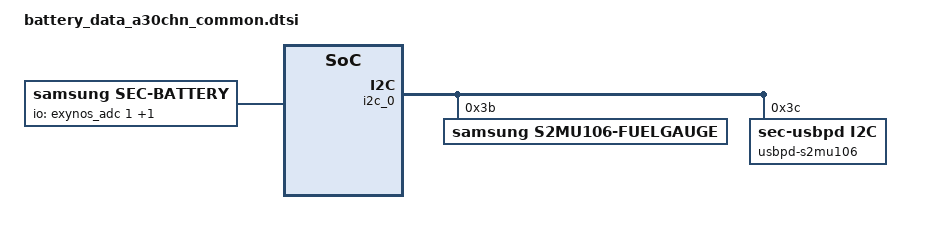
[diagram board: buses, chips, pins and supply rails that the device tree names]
/*
 * M30 device tree file
 *
 * Copyright (C) 2018 Samsung Electronics, Inc.
 *
 * This program is free software; you can redistribute it and/or
 * modify it under the terms of the GNU General Public License
 * as published by the Free Software Foundation; either version 2
 * of the License, or (at your option) any later version.
 *
 * This program is distributed in the hope that it will be useful,
 * but WITHOUT ANY WARRANTY; without even the implied warranty of
 * MERCHANTABILITY or FITNESS FOR A PARTICULAR PURPOSE.  See the
 * GNU General Public License for more details.
 *
 * You should have received a copy of the GNU General Public License
 * along with this program. If not, see <http://www.gnu.org/licenses/>.
 *
 */

/ {
	fragment@battery {
		target-path = "/";
		__overlay__ {
			battery_params {
				battery,battery_data =
					<
					/***** battery data for 4.35 *****/
					/* battery,battery_table3 */
					200 10 71 10 198 9 86 9 234 8
					152 8 3 8 196 7 133 7 55 7
					210 6 157 6 118 6 88 6 65 6
					44 6 6 6 221 5 154 5 130 5
					53 4 162 1 107 8 0 8 149 7
					43 7 192 6 85 6 234 5 128 5
					21 5 170 4 63 4 213 3 106 3
					255 2 148 2 42 2 191 1 84 1
					234 0 127 0 20 0 229 15

					/* battery,battery_table4 */
					10 10 10 10 47 47 47 48 47 47
					47 47 47 47 48 48 49 50 51 53
					58 95

					/* battery,batcap */
					0x64 0x4B 0xD9 0x12 /* [0x0E] [0x0F] [0x10] [0x11] */
					/* battery,accum */ 
					0x00 0x08 /* [0x44] [0x45] */

					/* battery,soc_arr_val */
					10521 10000 9478 8957 8436 7915 7394 6873 6352 5830
					5309 4788 4267 3746 3225 2704 2182 1661 1140 619
					98 (-133)

					/* battery,ocv_arr_val */
					43477 42847 42217 41668 41142 40740 40016 39705 39397 39020
					38523 38265 38076 37932 37819 37714 37527 37329 37003 36883
					35260 32039

					/* battery,tunning */
					0x00

					/***** battery data for 4.33 *****/
					/* battery,battery_table3 */
					76 11 200 10 68 10 193 9 79 9
					227 8 135 8 251 7 186 7 119 7
					35 7 198 6 147 6 110 6 82 6
					59 6 31 6 247 5 196 5 144 5
					245 4 162 1 240 8 130 8 20 8
					165 7 55 7 201 6 90 6 236 5
					126 5 16 5 161 4 51 4 197 3
					87 3 232 2 122 2 12 2 157 1
					47 1 193 0 83 0 228 15

					/* battery,battery_table4 */
					47 47 47 47 47 47 47 48 47 47
					47 47 47 47 48 48 49 50 51 53
					58 95

					/* battery,batcap */
					0xC8 0x4B 0xF2 0x12 /* [0x0E] [0x0F] [0x10] [0x11] */
					/* battery,accum */
					0x00 0x8 /* [0x44] [0x45] */

					/* battery,soc_arr_val */
					11172 10633 10096 9557 9019 8480 7942 7403 6865 6327 
					5788 5250 4711 4173 3634 3096 2558 2019 1481 942
					404 (-135)
					/* battery,ocv_arr_val */
					44121 43477 42833 42192 41634 41106 40660 39975 39657 39330
					38921 38466 38219 38038 37900 37787 37652 37457 37206 36955
					36198 32039

					/* battery,tunning */
					0x00

					/***** battery data for 4.31 *****/
					/* battery,battery_table3 */
					76 11 200 10 68 10 193 9 79 9
					227 8 135 8 251 7 186 7 119 7
					35 7 198 6 147 6 110 6 82 6 
					59 6 31 6 247 5 196 5 144 5
					245 4 162 1 24 9 168 8 56 8
					199 7 87 7 231 6 119 6 7 6
					150 5 38 5 182 4 70 4 214 3
					102 3 245 2 133 2 21 2 165 1
					53 1 196 0 84 0 228 15

					/* battery,battery_table4 */
					47 47 47 47 47 47 47 48 47 47
					47 47 47 47 48 48 49 50 51 53
					58 95

					/* battery,batcap */
					0x38 0x4A 0x8E 0x12 /* [0x0E] [0x0F] [0x10] [0x11] */
					/* battery,accum */
					0x00 0x8 /* [0x44] [0x45] */

					/* battery,soc_arr_val */
					11368 10820 10271 9724 9176 8628 8081 7533 6985 6437
					5889 5341 4794 4246 3698 3150 2602 2054 1507 959
					411 (-137)
					
					/* battery,ocv_arr_val */
					44121 43477 42833 42192 41634 41106 40660 39975 39657 39330
					38921 38466 38219 38038 37900 37787 37652 37457 37206 36955
					36198 32039

					/* battery,tunning */
					0x00

					/***** battery data for 4.29 *****/
					/* battery,battery_table3 */
					76 11 200 10 68 10 193 9 79 9
					227 8 135 8 251 7 186 7 119 7
					35 7 198 6 147 6 110 6 82 6
					59 6 31 6 247 5 196 5 144 5
					245 4 162 1 71 9 212 8 98 8
					239 7 125 7 11 7 152 6 38 6
					179 5 65 5 206 4 92 4 233 3
					119 3 4 3 146 2 32 2 173 1
					59 1 200 0 86 0 227 15

					/* battery,battery_table4 */
					47 47 47 47 47 47 47 48 47 47
					47 47 47 47 48 48 49 50 51 53
					58 95

					/* battery,batcap */
					0xA8 0x48 0x2A 0x12 /* [0x0E] [0x0F] [0x10] [0x11] */
					/* battery,accum */
					0x00 0x8 /* [0x44] [0x45] */

					/* battery,soc_arr_val */
					11596 11036 10478 9919 9360 8802 8243 7684 7125 6566
					6007 5449 4890 4331 3772 3212 2654 2096 1537 978
					419 (-140)

					/* battery,ocv_arr_val */
					44121 43477 42833 42192 41634 41106 40660 39975 39657 39330
					38921 38466 38219 38038 37900 37787 37652 37457 37206 36955
					36198 32039

					/* battery,tunning */
					0x00

					/***** battery data for 4.24 *****/
					/* battery,battery_table3 */
					76 11 200 10 68 10 193 9 79 9
					227 8 135 8 251 7 186 7 119 7
					35 7 198 6 147 6 110 6 82 6
					59 6 31 6 247 5 196 5 144 5
					245 4 162 1 196 9 76 9 211 8
					91 8 226 7 106 7 241 6 121 6
					0 6 136 5 15 5 151 4 30 4
					166 3 45 3 181 2 60 2 196 1
					75 1 211 0 90 0 226 15

					/* battery,battery_table4 */
					47 47 47 47 47 47 47 48 47 47
					47 47 47 47 48 48 49 50 51 53
					58 95

					/* battery,batcap */
					0x88 0x45 0x62 0x11 /* [0x0E] [0x0F] [0x10] [0x11] */
					/* battery,accum */
					0x00 0x8 /* [0x44] [0x45] */

					/* battery,soc_arr_val */
					12208 11619 11031 10443 9854 9266 8678 8088 7501 6913
					6324 5736 5148 4559 3971 3383 2795 2206 1618 1030
					441 (-147)
					/* battery,ocv_arr_val */
					44121 43477 42833 42192 41634 41106 40660 39975 39657 39330
					38921 38466 38219 38038 37900 37787 37652 37457 37206 36955
					36198 32039

					/* battery,tunning */
					0x00
					>;
				};

				pdic-manager {
					/* sink */
					pdic,max_power = <5000>;
					pdic,op_power = <2500>;
					pdic,max_voltage = <6000>;
					pdic,max_current = <2000>;
					pdic,min_current = <500>;

					pdic,giveback = <0>;
					pdic,usb_com_capable = <1>;
					pdic,no_usb_suspend = <1>;

					/* source */
					source,max_voltage = <5000>;
					source,min_voltage = <4000>;
					source,max_power = <2500>;

					/* sink cap */
					sink,capable_max_voltage = <9000>;
				};
		
				battery {
					status = "okay";
					compatible = "samsung,sec-battery";

					pinctrl-names = "default";

					battery,vendor = "Battery";
					battery,charger_name = "s2mu106-charger";
					battery,fuelgauge_name = "s2mu106-fuelgauge";
					battery,technology = <2>; /* POWER_SUPPLY_TECHNOLOGY_LION */
					battery,fgsrc_switch_name = "s2mu106-fuelgauge"; /* Fuelgauge voltage source */

					battery,batt_data_version = <4>;

					battery,chip_vendor = "LSI";
					battery,temp_adc_type = <1>; /* SEC_BATTERY_ADC_TYPE_AP */

					battery,temp_check_type = <2>; /* SEC_BATTERY_TEMP_CHECK_TEMP */
					battery,chg_temp_check = <1>;

					battery,thermal_source = <2>; /* SEC_BATTERY_THERMAL_SOURCE_ADC */

					battery,chg_thermal_source = <2>; /* SEC_CHARGER_THERMAL_SOURCE_FG */

					battery,polling_time = <10 30 30 30 3600>;

					battery,temp_table_adc = <
								306 363 427 493 565 661 771 860 920 958
								1051 1143 1210 1281 1364 1395 1459 1534 1591 1815
								2017 2241 2469 2557 2689 2780 2819 2897 2971 3083 3160
								3245 3389 3508 3603
								>;
					battery,temp_table_data = <
								900 850 800 750 700 650 600 570 550 530
								500 470 450 430 410 400 380 360 350 300
								250 200 150 130 100 80 70 50 30 0 (-30)
								(-50) (-100) (-150) (-200)
								>;

					battery,inbat_voltage = <1>;

					battery,inbat_voltage_table_adc = <
								2820 2795 2767 2737 2706 2686 2659 2630 2602 2574
								2544 2514 2484 2456 2432 2405 2379 2351 2320 2292
								2265 2236 2207
								>;
					battery,inbat_voltage_table_data = <
								4400 4350 4300 4250 4200 4150 4100 4050 4000 3950
								3900 3850 3800 3750 3700 3650 3600 3550 3500 3450
								3400 3350 3300
								>;

					battery,adc_check_count = <5>;

					battery,cable_check_type = <4>; /* SEC_BATTERY_CABLE_CHECK_PSY */
					battery,cable_source_type = <1>; /* SEC_BATTERY_CABLE_SOURCE_EXTERNAL */
					battery,polling_type = <1>; /* SEC_BATTERY_MONITOR_ALARM */
					battery,monitor_initial_count = <0>;

					battery,pre_afc_input_current = <500>;
					battery,prepare_afc_delay = <0>;

					battery,battery_check_type = <0>; /* SEC_BATTERY_CHECK_NONE */
					battery,check_count = <0>;

					battery,ovp_uvlo_check_type = <3>; /* SEC_BATTERY_OVP_UVLO_CHGPOLLING */

					battery,temp_check_count = <1>;
					battery,temp_highlimit_threshold_event = <800>;
					battery,temp_highlimit_recovery_event = <750>;
					battery,temp_high_threshold_event = <500>;
					battery,temp_high_recovery_event = <480>;
					battery,temp_low_threshold_event = <0>;
					battery,temp_low_recovery_event = <20>;
					battery,temp_highlimit_threshold_normal = <800>;
					battery,temp_highlimit_recovery_normal = <750>;
					battery,temp_high_threshold_normal = <500>;
					battery,temp_high_recovery_normal = <480>;
					battery,temp_low_threshold_normal = <0>;
					battery,temp_low_recovery_normal = <20>;
					battery,temp_highlimit_threshold_lpm = <800>;
					battery,temp_highlimit_recovery_lpm = <750>;
					battery,temp_high_threshold_lpm = <500>;
					battery,temp_high_recovery_lpm = <480>;
					battery,temp_low_threshold_lpm = <0>;
					battery,temp_low_recovery_lpm = <20>;
					battery,wpc_high_threshold_normal = <450>;
					battery,wpc_high_recovery_normal = <400>;
					battery,wpc_low_threshold_normal = <0>;
					battery,wpc_low_recovery_normal = <50>;

					battery,full_check_type = <2>; /* SEC_BATTERY_FULLCHARGED_FG_CURRENT */
					battery,full_check_type_2nd = <2>; /* SEC_BATTERY_FULLCHARGED_FG_CURRENT */
					battery,full_check_count = <1>;
					battery,chg_gpio_full_check = <0>;
					battery,chg_polarity_full_check = <1>;
		
					battery,chg_heating_prevention_method = <1>; /* SEC_BATTERY_BY_CHANGING_CURRENT */
					battery,chg_high_temp = <470>;
					battery,chg_high_temp_recovery = <430>;
					battery,chg_input_limit_current = <1000>;
					battery,chg_charging_limit_current = <1500>; 
		
					battery,mix_high_temp = <420>;
					battery,mix_high_chg_temp = <500>;
					battery,mix_high_temp_recovery = <390>;

					/* SEC_BATTERY_FULL_CONDITION_SOC |
					 * SEC_BATTERY_FULL_CONDITION_NOTIMEFULL |
					 * SEC_BATTERY_FULL_CONDITION_VCELL
					 */
					battery,full_condition_type = <13>;
					battery,full_condition_soc = <93>;
					battery,full_condition_vcell = <4250>;

					battery,recharge_check_count = <1>;
					battery,recharge_condition_type = <4>; /* SEC_BATTERY_RECHARGE_CONDITION_VCELL */
					battery,recharge_condition_soc = <98>;
					battery,recharge_condition_vcell = <4280>;

					battery,charging_total_time = <14400>;
					battery,hv_charging_total_time = <10800>;
					battery,normal_charging_total_time = <18000>;
					battery,usb_charging_total_time = <36000>;
					battery,recharging_total_time = <5400>;
					battery,charging_reset_time = <0>;

					battery,chg_float_voltage = <4350>;

					battery,swelling_high_temp_block = <410>;
					battery,swelling_high_temp_recov = <390>;
					battery,swelling_wc_high_temp_recov = <390>;
					battery,swelling_low_temp_block_1st = <150>;
					battery,swelling_low_temp_recov_1st = <170>;
					battery,swelling_low_temp_block_2nd = <50>;
					battery,swelling_low_temp_recov_2nd = <70>;

					battery,swelling_low_temp_current = <1150>;	/* 0.3C */
					battery,swelling_low_temp_current_2nd = <490>;
					battery,swelling_low_temp_topoff = <245>;	/* 0.05C */
					battery,swelling_high_temp_current = <1750>;	/* 0.45C */
					battery,swelling_high_temp_topoff = <245>;	/* 0.05C */
					battery,swelling_wc_high_temp_current = <750>;	/* 0.3C */
					battery,swelling_wc_low_temp_current = <750>;	/* 0.3C */

					battery,swelling_drop_float_voltage = <4150>;
					battery,swelling_high_rechg_voltage = <4000>;
					battery,swelling_low_rechg_voltage = <4000>;

					battery,siop_event_check_type = <1>;
					battery,siop_call_cv_current = <330>;
					battery,siop_call_cc_current = <330>;

					battery,siop_input_limit_current = <1200>;
					battery,siop_charging_limit_current = <1000>;
					battery,siop_hv_input_limit_current = <700>;
					battery,siop_hv_charging_limit_current = <1000>;
					battery,input_current_by_siop_40 = <400>;

					battery,pd_charging_charge_power = <15000>;
					battery,max_charging_current = <2200>;
					battery,battery_full_capacity = <4900>;

					/* cycle, chg_float_voltage, recharge_condition_vcell, full_condition_vcell, full_condition_soc */
					battery,age_data = <0 4350 4280 4250 93	/*4.35*/
							300 4330 4260 4230 92	/*4.33*/
							400 4310 4240 4210 91	/*4.31*/
							700 4290 4220 4190 90	/*4.29*/
							1000 4240 4170 4140 89	/*4.24*/
							>;

					battery,max_input_voltage = <9000>; /* mV */
					battery,max_input_current = <3000>;  /* mA */
		
					battery,standard_curr = <2200>;
					battery,expired_time = <12600>; /* 150 + 60 minutes */
					battery,recharging_expired_time = <5400>;

					battery,cisd_alg_index = <7>;

					battery,cisd_max_voltage_thr = <5000>; /* battery ovp detection voltage */

					battery,recovery_cable;
					battery,lowtemp_support_full_volt;
					battery,enable_water_resistance;

					io-channels = <&exynos_adc 1>, <&exynos_adc 2>;
					io-channel-names = "adc-temp", "adc-in-bat";
					#io-channel-cells = <5>;
					io-channel-ranges;

					battery,ttf_hv_charge_current = <1980>;
					battery,ttf_capacity = <4100>;
					battery,cv_data = <
								2259	832	2339
								2175	843	2245
								2050	851	2173
								1955	859	2102
								1838	867	2019
								1740	874	1936
								1636	880	1876
								1550	888	1782
								1445	896	1675
								1344	903	1579
								1252	909	1484
								1152	918	1354
								1054	925	1224
								950	934	1057
								851	941	890
								748	953	701
								650	970	475
								557	987	226
								527	996	84
								507	996	71
								485	1000	0
								>;
				};

/* sec_battery_cable
 *   0	UNKNOWN,
 *   1	NONE,
 *   2	PREPARE_TA,
 *   3	TA,
 *   4	USB,
 *   5	USB_CDP,
 *   6	9V_TA,
 *   7	9V_ERR,
 *   8	9V_UNKNOWN,
 *   9	12V_TA,
 *  10	WIRELESS,
 *  11	HV_WIRELESS,
 *  12	PMA_WIRELESS,
 *  13	WIRELESS_PACK,
 *  14	WIRELESS_PACK_TA,
 *  15	WIRELESS_STAND,
 *  16	WIRELESS_HV_STAND,
 *  17	QC20,
 *  18	QC30,
 *  19	PDIC,
 *  20	UARTOFF,
 *  21	OTG,
 *  22	LAN_HUB,
 *  23	POWER_SHARING,
 *  24	HMT_CONNECTED,
 *  25	HMT_CHARGE,
 *  26	HV_TA_CHG_LIMIT,
 *  27	WIRELESS_VEHICLE,
 *  28	WIRELESS_HV_VEHICLE,
 *  29	PREPARE_WIRELESS_HV,
 *  30	TIMEOUT,
 *  31	CABLE_MAX,
 */
			cable-info {
				default_input_current = <1800>;
				default_charging_current = <2100>;
				full_check_current_1st = <500>;
				full_check_current_2nd = <250>;

				current_group_1 {
					cable_number = <1 4 19 21 22 23 30>;
					input_current = <500>;
					charging_current = <500>;
				};

				current_group_2 {
					cable_number = <2 25>;
					input_current = <1000>;
					charging_current = <1000>;
				};

				current_group_3 {
					cable_number = <5>;
					input_current = <1500>;
					charging_current = <1500>;
				};

				current_group_4 {
					cable_number = <6 7 8>;
					input_current = <1650>;
					charging_current = <2200>;
				};

				current_group_5 {
					cable_number = <9>;
					input_current = <1650>;
					charging_current = <2200>;
				};

				current_group_6 {
					cable_number = <10 12 14 15 27>;
					input_current = <900>;
					charging_current = <1200>;
				};

				current_group_7 {
					cable_number = <13>;
					input_current = <700>;
					charging_current = <1200>;
				};

				current_group_8 {
					cable_number = <24>;
					input_current = <1000>;
					charging_current = <450>;
				};

				current_group_9 {
					cable_number = <26>;
					input_current = <2000>;
					charging_current = <1800>;
				};

				current_group_10 {
					cable_number = <11 16 28>;
					input_current = <650>;
					charging_current = <1200>;
				};

				current_group_11 {
					cable_number = <29>;
					input_current = <500>;
					charging_current = <1200>;
				};
			};

			s2mu106-charger {
				status = "disable";
				compatible = "samsung,s2mu106-charger";
			};
		};
	};
};

&pinctrl_0 {
	fuel_irq: fuel-irq {
		samsung,pins = "gpa2-4";
		samsung,pin-function = <0>;
		samsung,pin-pud = <2>;
		samsung,pin-drv = <0>;
	};

	if_pmic_irq: if-pmic-irq {
		samsung,pins = "gpa2-2";
		samsung,pin-function = <0>;
		samsung,pin-pud = <0>;
		samsung,pin-drv = <0>;
	};

	usbpd_irq: usbpd-irq {
		samsung,pins = "gpa2-3";
		samsung,pin-function = <0x0f>;
		samsung,pin-pud = <0>;
		samsung,pin-drv = <0>;
	};
};

&i2c_0 {
	i2c-gpio,delay-us = <5>;
	status = "okay";
	s2mu106-fuelgauge@3B {
		compatible = "samsung,s2mu106-fuelgauge";
		reg = <0x3B>;
		pinctrl-names = "default";
		pinctrl-0 = <&fuel_irq>;
		fuelgauge,fuel_int = <&gpa2 4 0>;
		fuelgauge,fuel_alert_soc = <1>;
		fuelgauge,fuel_alert_vol = <3300>;
		fuelgauge,low_temp_limit = <100>;
		fuelgauge,sw_vbat_l_recovery_vol = <3465>;
		fuelgauge,capacity_max = <970>;
		fuelgauge,capacity_max_margin = <200>;
		fuelgauge,capacity_min = <0>;
		fuelgauge,capacity_calculation_type = <28>;
		fuelgauge,capacity_full = <4900>;
		fuelgauge,type_str = "SDI";
		fuelgauge,model_type = <1>;
		fuelgauge,fg_log_enable = <1>;
	};

	usbpd-s2mu106@3C {
		compatible = "sec-usbpd,i2c";
		reg = <0x3C>;
		pinctrl-names = "default";
		pinctrl-0     = <&usbpd_irq>;
		usbpd,usbpd_int = <&gpa2 3 0>;
	};
};

